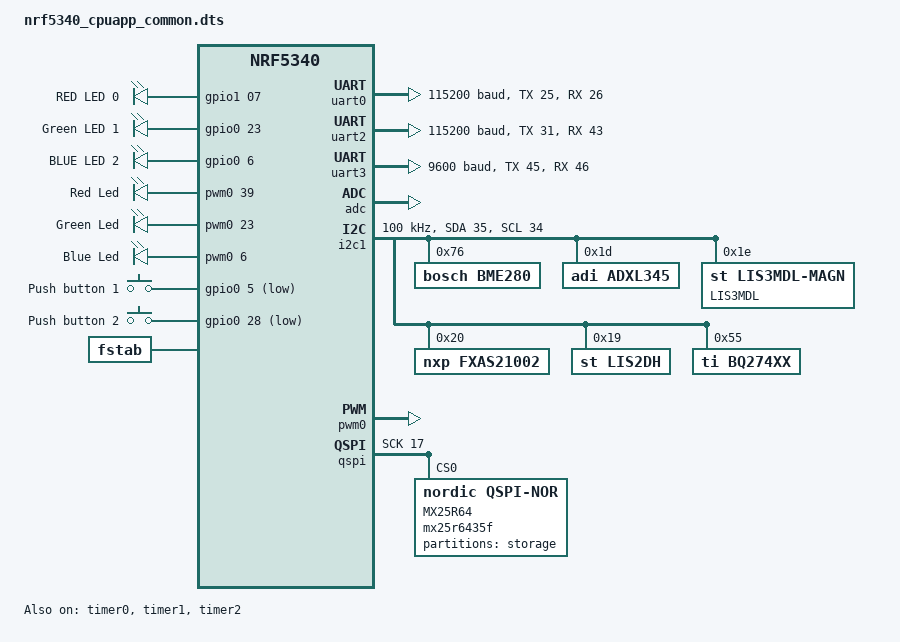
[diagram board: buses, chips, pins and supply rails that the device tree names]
/*
 * u-blox XPLR-IOT-1 board configuration
 * Copyright (c) 2022 u-blox AG
 *
 * SPDX-License-Identifier: Apache-2.0
 */

/ {

	chosen {
		zephyr,console = &uart0;
		zephyr,shell-uart = &uart0;
		zephyr,uart-mcumgr = &uart0;
		zephyr,bt-mon-uart = &uart0;
		zephyr,bt-c2h-uart = &uart0;
	};

	leds {
		compatible = "gpio-leds";
		led0: led_0 {
			gpios = <&gpio1 07 GPIO_ACTIVE_HIGH>;
			label = "RED LED 0";
		};
		led1: led_1 {
			gpios = <&gpio0 23 GPIO_ACTIVE_HIGH>;
			label = "Green LED 1";
		};
		led2: led_2 {
			gpios = <&gpio0 6 GPIO_ACTIVE_HIGH>;
			label = "BLUE LED 2";
		};
	};

	pwmleds {
		compatible = "pwm-leds";
		pwm_led0: pwm_led_0 {
			pwms = <&pwm0 28>;
		};
	};

	buttons {
		compatible = "gpio-keys";
		button0: button_0 {
			gpios = <&gpio0 5 (GPIO_PULL_UP | GPIO_ACTIVE_LOW)>;
			label = "Push button 1";
		};
		button1: button_1 {
			gpios = <&gpio0 28 (GPIO_PULL_UP | GPIO_ACTIVE_LOW)>;
			label = "Push button 2";
		};
	};


	/* These aliases are provided for compatibility with samples */
	aliases {
		led0 = &led0;
		led1 = &led1;
		led2 = &led2;
		pwm-led0 = &pwm_led0;
		sw0 = &button0;
		sw1 = &button1;
		bootloader-led0 = &led0;
	};
};

// Console uart
&uart0 {
	status = "okay";
	current-speed = <115200>;
	tx-pin = <25>;
	rx-pin = <26>;
	rts-pin = <27>;
	cts-pin = <24>;
};


// Default configuration is set on the NINA-W156 pins, the same UART is also used by SARA-R5
&uart2 {
	status = "okay";
	current-speed = <115200>;
	tx-pin = <31>;
	rx-pin = <43>;
	cts-pin = <30>;
	rts-pin = <20>;
	hw-flow-control;
};

// MaxM10S uart
&uart3 {
	status = "okay";
	current-speed = <9600>;
	tx-pin = <45>;
	rx-pin = <46>;
};

&adc {
	status = "okay";
};

&gpiote {
	status = "okay";
};

&gpio0 {
	status = "okay";
};

&gpio1 {
	status = "okay";
};

&i2c1 {
    compatible = "nordic,nrf-twim";
	status = "okay";
	sda-pin = < 35 >;
	scl-pin = < 34 >;
  clock-frequency = <I2C_BITRATE_STANDARD>;

	bme280@76 {
		compatible = "bosch,bme280";
		reg = <0x76>;
		label = "BME280";
	};

	adxl345@1d {
		compatible = "adi,adxl345";
		reg = <0x1d>;
		label = "ADXL345";
	};

	lis3mdl@1e {
		compatible = "st,lis3mdl-magn";
		reg = <0x1e>;
		label = "LIS3MDL";
	};

	fxas21002@20 {
		compatible = "nxp,fxas21002";
		reg = <0x20>;
		label = "FXAS21002";
	};

	lis2dh@19 {
		compatible = "st,lis2dh";
		reg = <0x19>;
		label = "LIS2DH";
	};

	bq27421@55 {
		compatible = "ti,bq274xx";
		label = "BQ274XX";
		reg = <0x55>;
		design-voltage = <3700>;
		design-capacity = <1200>;
		taper-current = <45>;
		terminate-voltage = <3000>;
	};
};


//PWM for Led control brightness
&pwm0 {
	status = "okay";
	ch0-pin = <39>;
	ch1-pin = <23>;
	ch2-pin = <6>;
};

// Leds at PWM channels
/{
	pwmleds {
		compatible = "pwm-leds";

		pwm_led0: pwm_led_0 {
			pwms = <&pwm0 39>;
			label = "Red Led";
		};

		pwm_led1: pwm_led_1 {
			pwms = <&pwm0 23>;
			label = "Green Led";
		};

		pwm_led2: pwm_led_2 {
			pwms = <&pwm0 6>;
			label = "Blue Led";
		};

	};


};

&qspi {
	status = "okay";
	sck-pin = <17>;
	io-pins = <13>, <14>, <15>, <16>;
	csn-pins = <18>;
	mx25r64: mx25r6435f@0 {
		compatible = "nordic,qspi-nor";
		reg = <0>;
		/* MX24R64 supports only pp and pp4io */
		writeoc = "pp4io";
		/* MX24R64 supports all readoc options */
		readoc = "read4io";
		sck-frequency = <8000000>;
		label = "MX25R64";
		jedec-id = [c2 28 17];
		sfdp-bfp = [
			e5 20 f1 ff  ff ff ff 03  44 eb 08 6b  08 3b 04 bb
			ee ff ff ff  ff ff 00 ff  ff ff 00 ff  0c 20 0f 52
			10 d8 00 ff  23 72 f5 00  82 ed 04 cc  44 83 68 44
			30 b0 30 b0  f7 c4 d5 5c  00 be 29 ff  f0 d0 ff ff
		];
		size = <67108864>;
		has-dpd;
		t-enter-dpd = <10000>;
		t-exit-dpd = <35000>;
	};
};

&timer0 {
	status = "okay";
};

&timer1 {
	status = "okay";
};

&timer2 {
	status = "okay";
};

&flash0 {

	partitions {
		compatible = "fixed-partitions";
		#address-cells = <1>;
		#size-cells = <1>;

		boot_partition: partition@0 {
			label = "mcuboot";
			reg = <0x00000000 0x00010000>;
		};
		slot0_partition: partition@10000 {
			label = "image-0";
		};
		slot0_ns_partition: partition@50000 {
			label = "image-0-nonsecure";
		};
		slot1_partition: partition@80000 {
			label = "image-1";
		};
		slot1_ns_partition: partition@c0000 {
			label = "image-1-nonsecure";
		};
		scratch_partition: partition@f0000 {
			label = "image-scratch";
			reg = <0x000f0000 0xa000>;
		};
	};
};

/ {

	reserved-memory {
		#address-cells = <1>;
		#size-cells = <1>;
		ranges;

		sram0_image: image@20000000 {
			/* Zephyr image(s) memory */
		};

		sram0_s: image_s@20000000 {
			/* Secure image memory */
		};

		sram0_ns: image_ns@20040000 {
			/* Non-Secure image memory */
		};
	};
};

/ {
	fstab {
		compatible = "zephyr,fstab";
		lfs1: lfs1 {
			compatible = "zephyr,fstab,littlefs";
			mount-point = "/lfs1";
			partition = <&lfs1_part>;
			read-size = <16>;
			prog-size = <16>;
			cache-size = <64>;
			lookahead-size = <32>;
			block-cycles = <512>;
		};
	};
};

&mx25r64 {
	partitions {
		compatible = "fixed-partitions";
		#address-cells = <1>;
		#size-cells = <1>;

		lfs1_part: partition@0 {
			label = "storage";
			reg = <0x00000000 0x800000>;
		};
	};
};

/* Include partition configuration file */
#include "nrf5340_cpuapp_partition_conf.dts"
